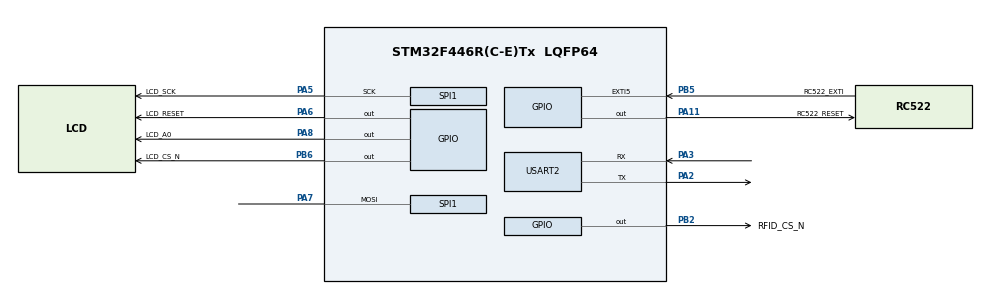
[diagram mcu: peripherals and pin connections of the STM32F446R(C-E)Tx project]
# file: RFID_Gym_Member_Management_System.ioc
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Mcu.Family=STM32F4
Mcu.Name=STM32F446R(C-E)Tx
Mcu.Package=LQFP64
NVIC.PriorityGroup=NVIC_PRIORITYGROUP_4
PA11.GPIO_Label=RC522_RESET
PA11.Signal=GPIO_Output
PA2.Mode=Asynchronous
PA2.Signal=USART2_TX
PA3.Mode=Asynchronous
PA3.Signal=USART2_RX
PA5.GPIO_Label=LCD_SCK
PA5.Mode=Simplex_Bidirectional_Master
PA5.Signal=SPI1_SCK
PA6.GPIO_Label=LCD_RESET
PA6.Signal=GPIO_Output
PA7.Mode=Simplex_Bidirectional_Master
PA7.Signal=SPI1_MOSI
PA8.GPIO_Label=LCD_A0
PA8.Signal=GPIO_Output
PB2.GPIO_Label=RFID_CS_N
PB2.Signal=GPIO_Output
PB5.GPIO_Label=RC522_EXTI
PB5.Signal=GPXTI5
PB6.GPIO_Label=LCD_CS_N
PB6.Signal=GPIO_Output
ProjectManager.HeapSize=0x200
ProjectManager.StackSize=0x400
ProjectManager.TargetToolchain=STM32CubeIDE
RCC.CortexFreq_Value=16000000
RCC.USBFreq_Value=96000000
RCC.VCOOutputFreq_Value=192000000
SPI1.CalculateBaudRate=8.0 MBits/s
SPI1.Direction=SPI_DIRECTION_1LINE
SPI1.Mode=SPI_MODE_MASTER
SPI1.VirtualType=VM_MASTER
USART2.VirtualMode=VM_ASYNC
board=custom

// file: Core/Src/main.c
/* USER CODE BEGIN Header */
/**
 ******************************************************************************
 * @file           : main.c
 * @brief          : Main program body
 ******************************************************************************
 * @attention
 *
 * Copyright (c) 2024 STMicroelectronics.
 * All rights reserved.
 *
 * This software is licensed under terms that can be found in the LICENSE file
 * in the root directory of this software component.
 * If no LICENSE file comes with this software, it is provided AS-IS.
 *
 ******************************************************************************
 */
/* USER CODE END Header */
#include "main.h"
#include "spi.h"
#include "usart.h"
#include "gpio.h"

/* USER CODE BEGIN Includes */
#include "lcd_driver.h"
#include "stdio.h"
#include "rc522.h"

/* USER CODE END Includes */

/* USER CODE BEGIN PTD */
RC522_HandleTypeDef rc522;

/* USER CODE END PTD */

void SystemClock_Config(void);
/* USER CODE BEGIN PFP */
void displayWelcome(void);
int _write(int fd, char *ptr, int len);

/* USER CODE END PFP */

int main(void)
{

	/* MCU Configuration--------------------------------------------------------*/

	/* Reset of all peripherals, Initializes the Flash interface and the Systick. */
	HAL_Init();

	/* USER CODE BEGIN Init */
	//RC522_Init();

	/* USER CODE END Init */

	/* Configure the system clock */
	SystemClock_Config();

	/* Initialize all configured peripherals */
	MX_GPIO_Init();
	MX_USART2_UART_Init();
	MX_SPI1_Init();
	/* USER CODE BEGIN 2 */

	displayWelcome();

	// Initialize LCD
	lcd_init();
	lcd_clear();

	// Set it to some line
	lcd_setLine(127, 0, 127, 31, 1);
	lcd_setLine(0, 0, 0, 31, 1);
	lcd_setString(4, 3, "System Initialization Test ", LCD_FONT_8, false);
	lcd_setString(4, 15, "I2C connection Done", LCD_FONT_8, false);
	lcd_setString(4, 25, "Accelerometer connection Done", LCD_FONT_8, false);
	lcd_show();
	HAL_Delay(2500);
	lcd_clear();

	// Initialize the RC522 RFID Module
	RC522_Init(&rc522, &hspi1, RFID_CS_N_GPIO_Port, RFID_CS_N_Pin, RC522_RESET_GPIO_Port, RC522_RESET_Pin);
	uint8_t status;
	uint8_t tagType[2];
	uint8_t serNum[5];

	/* USER CODE END 2 */

	/* Infinite loop */
	while (1)
	{

		/* USER CODE BEGIN 3 */
		status = RC522_Request(&rc522, PICC_REQIDL, tagType);
		if(status == MI_OK){
			printf("Card Detected!\n");

		// Anti Collision Detection
		status = RC522_Anticoll(&rc522, serNum);
		if(status==MI_OK)
		{
			printf("Card Serial Number: ");
			for(int i = 0; i<4; i++)
			{
				printf("%02X ", serNum[i]);
			}
			printf("\n");

			status = RC522_SelectTag(&rc522, serNum);
			if(status == MI_OK)
			{
				printf("Card selected successfully!\n");
			} else {
				printf("Failed to select card.\n");
			}
		}
		else {
			printf("Anti-collision failed.\n");
		}
		}else
		{
			printf("No card detected.\n");
		}
		HAL_Delay(500);  // Delay to avoid continuous polling
	}
	/* USER CODE END 3 */
}

void SystemClock_Config(void)
{
	RCC_OscInitTypeDef RCC_OscInitStruct = {0};
	RCC_ClkInitTypeDef RCC_ClkInitStruct = {0};

	/** Configure the main internal regulator output voltage
	 */
	__HAL_RCC_PWR_CLK_ENABLE();
	__HAL_PWR_VOLTAGESCALING_CONFIG(PWR_REGULATOR_VOLTAGE_SCALE3);

	/** Initializes the RCC Oscillators according to the specified parameters
	 * in the RCC_OscInitTypeDef structure.
	 */
	RCC_OscInitStruct.OscillatorType = RCC_OSCILLATORTYPE_HSI;
	RCC_OscInitStruct.HSIState = RCC_HSI_ON;
	RCC_OscInitStruct.HSICalibrationValue = RCC_HSICALIBRATION_DEFAULT;
	RCC_OscInitStruct.PLL.PLLState = RCC_PLL_NONE;
	if (HAL_RCC_OscConfig(&RCC_OscInitStruct) != HAL_OK)
	{
		Error_Handler();
	}

	/** Initializes the CPU, AHB and APB buses clocks
	 */
	RCC_ClkInitStruct.ClockType = RCC_CLOCKTYPE_HCLK|RCC_CLOCKTYPE_SYSCLK
			|RCC_CLOCKTYPE_PCLK1|RCC_CLOCKTYPE_PCLK2;
	RCC_ClkInitStruct.SYSCLKSource = RCC_SYSCLKSOURCE_HSI;
	RCC_ClkInitStruct.AHBCLKDivider = RCC_SYSCLK_DIV1;
	RCC_ClkInitStruct.APB1CLKDivider = RCC_HCLK_DIV1;
	RCC_ClkInitStruct.APB2CLKDivider = RCC_HCLK_DIV1;

	if (HAL_RCC_ClockConfig(&RCC_ClkInitStruct, FLASH_LATENCY_0) != HAL_OK)
	{
		Error_Handler();
	}
}

/* USER CODE BEGIN 4 */

// Overite the default COUT function with printf function
int _write(int fd, char *ptr, int len)
{
	if(HAL_UART_Transmit(&huart2, (uint8_t *)ptr, len, HAL_MAX_DELAY)== HAL_OK)
		return len;
	else
		return -1;
}

// Introduce the Set Up with a Basic Welcome Message
void displayWelcome()
{
	puts("******** LETS PRACTICE ******** \r\n");
	puts("- Uart connection ... Done\r\n");
	puts("- printf retargeting to uart ... Done\r\n");
	puts("- Temperature Sensor connection ... Done\r\n");
	puts("***************************** \r\n");
}

// Main function to read the first RFID tag and write it to UART

/* USER CODE END 4 */

void Error_Handler(void)
{
	__disable_irq();
	while (1)
	{
	}
}
